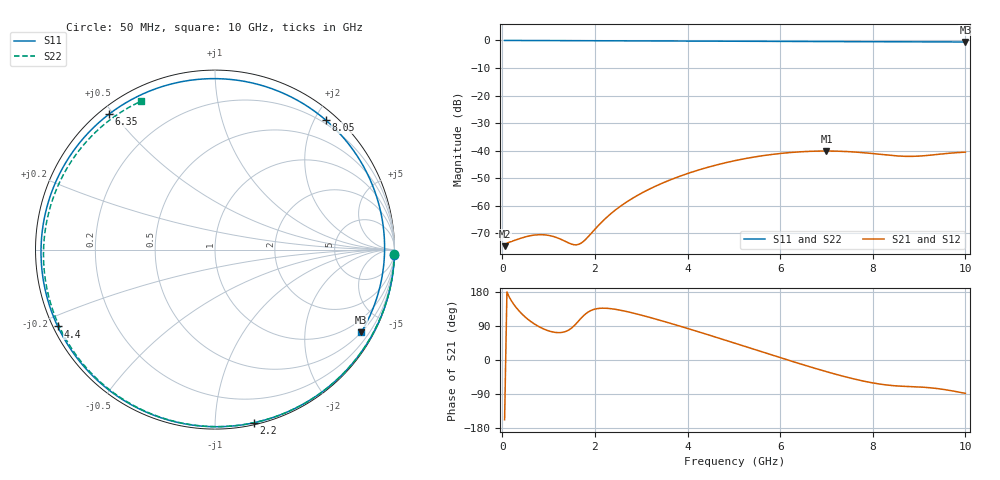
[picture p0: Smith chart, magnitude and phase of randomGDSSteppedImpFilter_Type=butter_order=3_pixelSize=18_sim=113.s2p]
! freq	dB(S11)	phase(S11)	dB(S12)	phase(S12)
!  dB(S21)	phase(S21)	dB(S22)	phase(S22)
!S-par simulation data
#  GHz  S  DB  R 50
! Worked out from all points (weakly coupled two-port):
!   200 points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, 50 MHz to 10 GHz, reference 50 ohm
!   highest |S21| = -40.11 dB at 7 GHz (marker M1); lowest = -74.6 dB at 50 MHz (marker M2)
!   lowest |S11| = -0.6 dB at 10 GHz (marker M3), VSWR 30.19, Z = 25.2 - j187 ohm
!   |S11| at or under -10 dB: nowhere
!   |S22| runs from -0.7 to 0.0 dB; largest |S21 - S12| = 0
!   S11 on the Smith chart (normalised r, x): 50 MHz: 0, -64; 2.2 GHz: 0.01, -1.25; 4.4 GHz: 0.01, -0.23; 6.35 GHz: 0.03, +0.49; 8.05 GHz: 0.15, +2.16; 10 GHz: 0.50, -3.74
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0.05  -0.00 -1.8  -74.63 -157.7  -74.63 -157.7  -0.00 -1.3
0.15  -0.00 -5.4  -73.19 166.1  -73.19 166.1  -0.00 -3.9
0.75  -0.03 -26.8  -70.50 90.8  -70.50 90.8  -0.02 -19.2
1.1  -0.05 -39.2  -71.11 73.7  -71.11 73.7  -0.03 -28.1
1.55  -0.07 -54.9  -74.11 90.2  -74.11 90.2  -0.05 -39.3
1.75  -0.08 -61.9  -72.94 116.3  -72.94 116.3  -0.06 -44.2
2.2  -0.10 -77.4  -65.02 136.7  -65.02 136.7  -0.07 -55.2
2.8  -0.13 -98.0  -57.37 124.6  -57.37 124.6  -0.09 -69.4
3.4  -0.16 -118.7  -52.17 105.0  -52.17 105.0  -0.11 -83.3
4.4  -0.22 -154.0  -46.19 68.3  -46.19 68.3  -0.15 -105.8
5.05  -0.27 -178.2  -43.51 43.3  -43.51 43.3  -0.18 -120.1
5.7  -0.32 155.9  -41.62 17.9  -41.62 17.9  -0.22 -134.3
6.35  -0.37 128.0  -40.49 -7.0  -40.49 -7.0  -0.27 -148.6
6.7  -0.40 112.3  -40.19 -20.1  -40.19 -20.1  -0.30 -156.4
7  -0.41 98.5  -40.11 -30.8  -40.11 -30.8  -0.33 -163.2
7.5  -0.43 75.1  -40.36 -47.2  -40.36 -47.2  -0.38 -174.9
8.05  -0.45 49.5  -41.13 -61.6  -41.13 -61.6  -0.43 171.7
8.35  -0.46 35.9  -41.64 -66.6  -41.64 -66.6  -0.47 164.1
8.7  -0.47 20.5  -42.04 -69.7  -42.04 -69.7  -0.51 154.8
9.1  -0.49 3.9  -41.83 -71.9  -41.83 -71.9  -0.56 143.8
9.5  -0.52 -11.6  -41.16 -77.1  -41.16 -77.1  -0.62 132.1
10  -0.58 -29.5  -40.52 -88.0  -40.52 -88.0  -0.69 116.6
